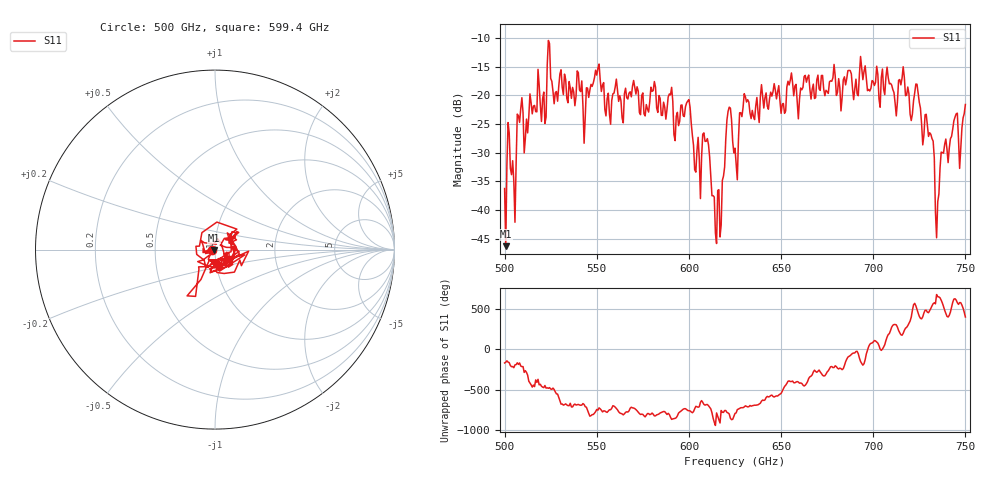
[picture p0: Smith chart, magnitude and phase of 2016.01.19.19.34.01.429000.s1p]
!Created with skrf (http://scikit-rf.org).
# GHz S RI R 50.0
!freq ReS11 ImS11
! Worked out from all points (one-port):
!   401 points, 500 GHz to 750 GHz, reference 50 ohm
!   lowest |S11| = -46.3 dB at 500.6 GHz (marker M1), VSWR 1.01, Z = 49.6 - j0.173 ohm
!   |S11| at or under -10 dB: start of sweep to end of sweep
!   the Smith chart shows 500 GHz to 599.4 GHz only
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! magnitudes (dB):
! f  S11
! 500 GHz  -36.3
! 500.6 GHz  -46.3
! 503.1 GHz  -32.7
! 505 GHz  -35.1
! 508.1 GHz  -24.7
! 521.2 GHz  -19.4
! 524.4 GHz  -11.0
! 527.5 GHz  -19.5
! 531.2 GHz  -18.6
! 562.5 GHz  -20.1
! 580.6 GHz  -19.2
! 593.8 GHz  -23.0
! 599.4 GHz  -21.0
! 605 GHz  -27.3
! 609.4 GHz  -28.0
! 615.6 GHz  -36.6
! 618.1 GHz  -34.9
! 621.2 GHz  -22.8
! 625 GHz  -29.2
! 630.6 GHz  -20.2
! 656.2 GHz  -17.8
! 687.5 GHz  -15.7
! 718.8 GHz  -18.6
! 731.2 GHz  -26.8
! 735 GHz  -38.6
! 738.1 GHz  -30.1
! 747.5 GHz  -29.1
! 750 GHz  -21.6
